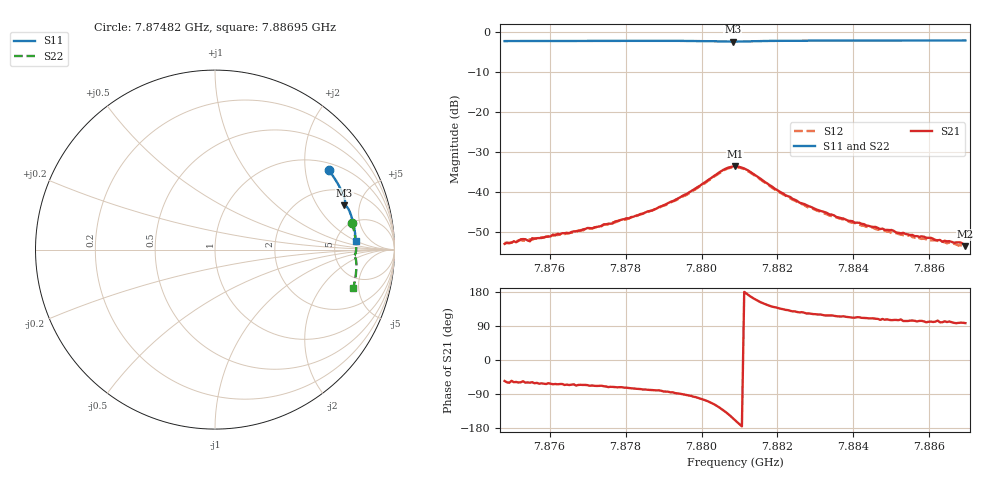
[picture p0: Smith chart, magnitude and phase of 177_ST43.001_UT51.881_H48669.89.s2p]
#  HZ  S  DB  R  50.00
! Rohde & Schwarz Vector Network Analyzer
! Rohde-Schwarz,ZNB20-2Port,1311601062101988,3.16
! Created: UTC 1/12/2023, 6:42:30 PM
! freq[Hz]  db:S11  ang:S11  db:S21  ang:S21  db:S12  ang:S12  db:S22  ang:S22
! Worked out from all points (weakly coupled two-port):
!   201 points, 7.87482 GHz to 7.88695 GHz, reference 50 ohm
!   highest |S21| = -33.52 dB at 7.88088 GHz (marker M1); lowest = -53.5 dB at 7.88695 GHz (marker M2)
!   lowest |S11| = -2.4 dB at 7.88082 GHz (marker M3), VSWR 7.41, Z = 151 + j178 ohm
!   |S11| at or under -10 dB: nowhere
!   |S22| runs from -2.3 to -1.9 dB; largest |S21 - S12| = 0.0013
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7.874817e9  -2.24 35.0  -52.89 -55.4  -52.64 -58.5  -2.18 11.0
7.87512e9  -2.23 34.1  -52.49 -57.9  -52.29 -62.4  -2.17 10.4
7.875241e9  -2.23 33.8  -51.74 -58.8  -51.93 -60.9  -2.16 10.0
7.875484e9  -2.23 33.1  -52.26 -59.8  -51.72 -63.6  -2.16 9.4
7.875544e9  -2.22 33.0  -51.48 -58.5  -51.85 -63.6  -2.16 9.3
7.876879e9  -2.20 29.3  -49.26 -65.9  -49.51 -69.4  -2.12 6.2
7.877667e9  -2.20 27.2  -47.77 -71.0  -47.51 -74.7  -2.10 4.3
7.87888e9  -2.19 23.8  -43.70 -80.1  -43.92 -84.6  -2.08 1.4
7.879608e9  -2.20 21.7  -40.43 -92.4  -40.66 -96.4  -2.09 -0.4
7.880579e9  -2.33 19.2  -34.38 -132.9  -34.59 -136.2  -2.22 -2.5
7.880821e9  -2.36 18.9  -33.58 -153.2  -33.78 -156.4  -2.25 -2.6
7.880882e9  -2.36 18.9  -33.52 -158.7  -33.67 -162.0  -2.27 -2.6
7.881246e9  -2.31 18.6  -34.66 170.5  -34.86 167.2  -2.21 -2.7
7.882216e9  -2.17 16.1  -40.79 132.2  -40.89 129.4  -2.05 -4.9
7.882944e9  -2.14 14.0  -43.95 121.1  -44.18 118.1  -2.01 -6.6
7.884036e9  -2.12 11.0  -47.62 111.7  -47.69 108.9  -1.98 -9.1
7.884946e9  -2.10 8.6  -49.46 105.8  -49.91 102.7  -1.97 -11.1
7.885492e9  -2.10 7.2  -50.69 103.9  -50.69 100.4  -1.96 -12.3
7.885977e9  -2.09 5.9  -51.38 100.9  -52.19 100.0  -1.96 -13.4
7.886341e9  -2.09 5.0  -52.36 99.6  -52.33 95.5  -1.95 -14.1
7.886826e9  -2.08 3.7  -52.56 98.5  -53.25 95.0  -1.95 -15.2
7.886947e9  -2.09 3.4  -53.47 97.3  -53.38 94.1  -1.95 -15.5
